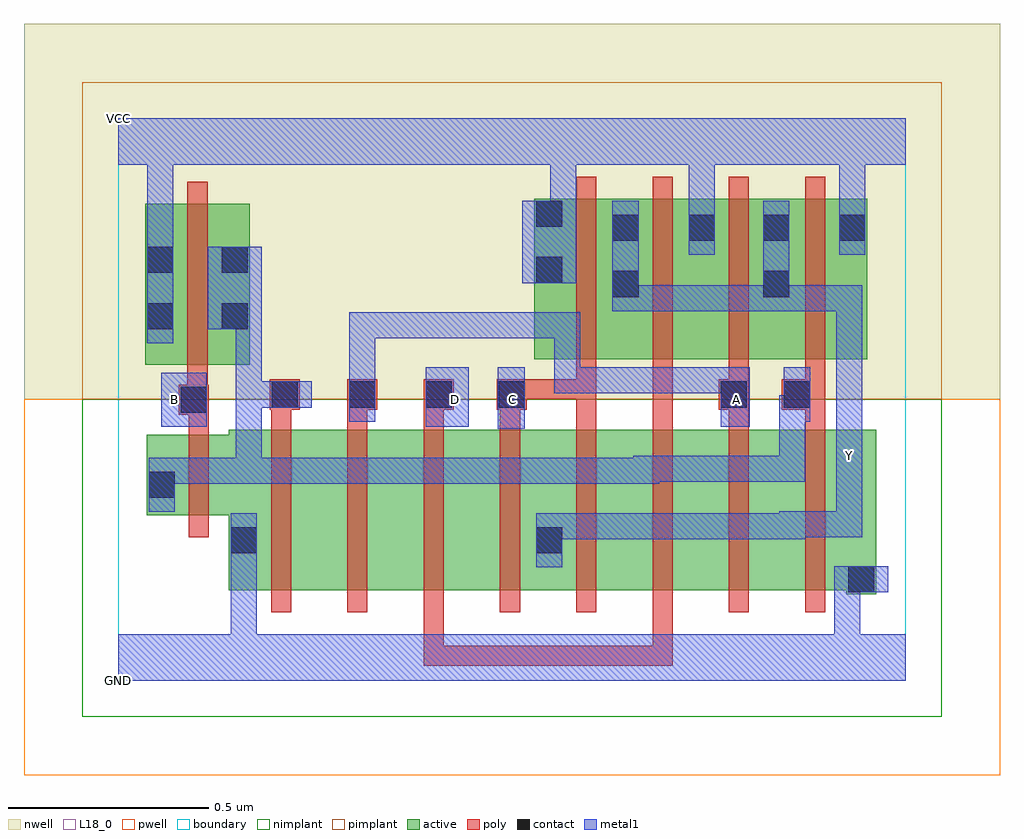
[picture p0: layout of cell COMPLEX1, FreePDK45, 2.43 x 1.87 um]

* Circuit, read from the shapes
.subckt COMPLEX1 A B C D GND VCC Y
M1 GND B n1 VSUBS nfet w=0.2u l=0.05u
M2 n2 n1 GND VSUBS nfet w=0.4u l=0.05u
M3 n3 A n2 VSUBS nfet w=0.4u l=0.05u
M4 n4 D n3 VSUBS nfet w=0.4u l=0.05u
M5 Y C n4 VSUBS nfet w=0.4u l=0.05u
M6 n5 C Y VSUBS nfet w=0.4u l=0.05u
M7 n6 D n5 VSUBS nfet w=0.4u l=0.05u
M8 n7 A n6 VSUBS nfet w=0.4u l=0.05u
M9 GND n1 n7 VSUBS nfet w=0.4u l=0.05u
M10 n1 B VCC n8 pfet w=0.4u l=0.05u
M11 Y C VCC n8 pfet w=0.4u l=0.05u
M12 VCC D Y n8 pfet w=0.4u l=0.05u
M13 Y A VCC n8 pfet w=0.4u l=0.05u
M14 VCC n1 Y n8 pfet w=0.4u l=0.05u
.ends

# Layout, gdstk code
import gdstk
lib = gdstk.Library(unit=1e-6, precision=1e-09)
def R(c, l, rs):  # rectangles x0, y0, x1, y1
    for r in rs: c.add(gdstk.rectangle(r[:2], r[2:], *l))
def A(c, l, x, y, w, h, nx, ny, dx, dy):  # array of equal rectangles
    R(c, l, [(x+i*dx, y+j*dy, x+i*dx+w, y+j*dy+h) for i in range(nx) for j in range(ny)])
active = (1, 0)
pwell = (2, 0)
nwell = (3, 0)
nimplant = (4, 0)
pimplant = (5, 0)
poly = (9, 0)
contact = (10, 0)
metal1 = (11, 0)
L18_0 = (18, 0)
boundary = (235, 0)

complex1 = lib.new_cell('COMPLEX1')
R(complex1, active, [(1.812,0.215,1.887,0.625), (0.275,0.225,0.5,0.625), (0.5,0.225,0.69,0.625), (0.69,0.225,0.88,0.625), (0.88,0.225,1.11,0.625), (1.035,0.225,1.26,0.625), (1.035,0.225,1.11,0.617), (1.26,0.225,1.45,0.625), (1.45,0.225,1.64,0.625), (1.64,0.225,1.887,0.625), (0.275,0.312,0.35,0.597), (0.07,0.412,0.35,0.612), (0.07,0.445,0.145,0.612), (0.067,0.787,0.142,1.187), (0.067,0.787,0.327,1.187), (0.252,0.787,0.327,1.187), (1.035,0.8,1.3,1.2), (1.225,0.8,1.49,1.2), (1.225,0.8,1.3,1.165), (1.415,0.8,1.675,1.2), (1.6,0.8,1.675,1.2), (1.6,0.8,1.865,1.2), (1.79,0.8,1.865,1.2), (1.415,0.802,1.49,1.165), (1.035,0.907,1.11,1.2)])
R(complex1, pwell, [(-0.235,-0.235,2.195,0.7)])
R(complex1, nwell, [(-0.235,0.7,2.195,1.635)])
R(complex1, nimplant, [(-0.09,-0.09,2.05,0.7)])
R(complex1, pimplant, [(-0.09,0.7,2.05,1.49)])
A(complex1, poly, 0.38, 0.17, 0.05, 0.51, 8, 1, 0.19, 0)
A(complex1, poly, 0.38, 0.63, 0.05, 0.095, 4, 1, 0.19, 0)
A(complex1, poly, 1.14, 0.7, 0.05, 0.095, 4, 1, 0.19, 0)
A(complex1, poly, 1.14, 0.745, 0.05, 0.51, 4, 1, 0.19, 0)
R(complex1, poly, [(0.76,0.037,0.81,0.087), (0.76,0.037,0.81,0.087), (0.76,0.037,0.81,0.087), (0.76,0.037,0.81,0.22), (0.76,0.037,1.017,0.087), (0.967,0.037,1.017,0.087), (0.967,0.037,1.15,0.087), (1.1,0.037,1.15,0.087), (1.1,0.037,1.15,0.087), (1.1,0.037,1.15,0.087), (1.1,0.037,1.38,0.087), (1.33,0.037,1.38,0.087), (1.33,0.037,1.38,0.087), (1.33,0.037,1.38,0.087), (1.33,0.037,1.38,0.22), (0.175,0.357,0.225,0.667), (0.175,0.617,0.225,0.712), (1.14,0.63,1.19,0.75), (1.33,0.63,1.38,0.75), (1.52,0.63,1.57,0.725), (1.71,0.63,1.76,0.725), (0.15,0.662,0.225,0.737), (0.377,0.675,0.452,0.75), (0.57,0.675,0.645,0.75), (0.76,0.675,0.835,0.75), (0.942,0.675,1.017,0.75), (1.495,0.675,1.57,0.75), (1.652,0.675,1.76,0.75), (0.172,0.687,0.222,0.782), (0.967,0.7,1.19,0.75), (1.14,0.7,1.19,0.75), (1.14,0.7,1.19,0.75), (1.14,0.7,1.19,0.75), (1.33,0.7,1.38,0.75), (0.172,0.732,0.222,1.242)])
R(complex1, contact, [(1.817,0.22,1.882,0.285), (0.28,0.317,0.345,0.382), (1.04,0.317,1.105,0.382), (0.075,0.455,0.14,0.52), (0.155,0.667,0.22,0.732), (0.382,0.68,0.447,0.745), (0.575,0.68,0.64,0.745), (0.765,0.68,0.83,0.745), (0.947,0.68,1.012,0.745), (1.5,0.68,1.565,0.745), (1.657,0.68,1.722,0.745), (0.072,0.875,0.137,0.94), (0.257,0.875,0.322,0.94), (1.23,0.955,1.295,1.02), (1.605,0.955,1.67,1.02), (1.04,0.99,1.105,1.055), (0.072,1.015,0.137,1.08), (0.257,1.015,0.322,1.08), (1.23,1.095,1.295,1.16), (1.42,1.095,1.485,1.16), (1.605,1.095,1.67,1.16), (1.795,1.095,1.86,1.16), (1.04,1.13,1.105,1.195)])
R(complex1, metal1, [(0,0,1.96,0.115), (0.28,0.05,0.345,0.115), (0.28,0.05,0.345,0.115), (0.28,0.05,0.345,0.347), (1.782,0.05,1.847,0.285), (1.782,0.22,1.847,0.285), (1.782,0.22,1.847,0.285), (1.782,0.22,1.917,0.285), (0.28,0.282,0.345,0.417), (1.04,0.282,1.105,0.417), (1.04,0.352,1.157,0.417), (1.092,0.352,1.157,0.417), (1.092,0.352,1.347,0.417), (1.282,0.352,1.347,0.417), (1.282,0.352,1.347,0.417), (1.282,0.352,1.347,0.417), (1.282,0.352,1.532,0.417), (1.467,0.352,1.532,0.417), (1.467,0.352,1.532,0.417), (1.467,0.352,1.532,0.417), (1.467,0.352,1.71,0.417), (1.645,0.352,1.71,0.422), (1.645,0.357,1.71,0.422), (1.645,0.357,1.71,0.422), (1.645,0.357,1.852,0.422), (1.787,0.357,1.852,0.422), (1.787,0.357,1.852,0.422), (1.787,0.357,1.852,0.422), (1.787,0.357,1.852,0.557), (0.075,0.42,0.14,0.555), (0.075,0.49,0.14,0.555), (0.075,0.49,0.14,0.555), (0.075,0.49,0.357,0.555), (0.292,0.49,0.357,0.555), (0.292,0.49,0.357,0.555), (0.292,0.49,0.357,0.555), (0.292,0.49,0.495,0.555), (0.292,0.49,0.357,0.745), (0.43,0.49,0.495,0.555), (0.43,0.49,0.64,0.555), (0.575,0.49,0.64,0.555), (0.575,0.49,0.64,0.555), (0.575,0.49,0.64,0.555), (0.575,0.49,0.777,0.555), (0.712,0.49,0.777,0.555), (0.712,0.49,0.932,0.555), (0.867,0.49,0.932,0.555), (0.867,0.49,0.932,0.555), (0.867,0.49,0.932,0.555), (0.867,0.49,1.157,0.555), (1.092,0.49,1.157,0.555), (1.092,0.49,1.157,0.555), (1.092,0.49,1.157,0.555), (1.092,0.49,1.347,0.555), (1.282,0.49,1.347,0.56), (1.787,0.492,1.852,0.627), (1.282,0.495,1.347,0.56), (1.282,0.495,1.347,0.56), (1.282,0.495,1.485,0.56), (1.42,0.495,1.485,0.56), (1.42,0.495,1.485,0.56), (1.42,0.495,1.485,0.56), (1.42,0.495,1.71,0.56), (1.645,0.495,1.71,0.56), (1.645,0.495,1.71,0.71), (1.787,0.562,1.852,0.985), (0.945,0.627,1.012,0.78), (0.107,0.632,0.22,0.767), (0.765,0.632,0.872,0.78), (1.5,0.632,1.572,0.78), (0.575,0.645,0.64,0.78), (1.645,0.645,1.71,0.71), (1.645,0.645,1.722,0.71), (1.657,0.645,1.722,0.78), (0.292,0.68,0.357,0.745), (0.292,0.68,0.412,0.745), (0.292,0.68,0.357,0.94), (0.347,0.68,0.482,0.745), (0.575,0.715,0.64,0.78), (0.575,0.715,0.64,0.78), (0.575,0.715,0.64,0.917), (1.085,0.715,1.15,0.78), (1.085,0.715,1.15,0.78), (1.085,0.715,1.15,0.78), (1.085,0.715,1.347,0.78), (1.085,0.715,1.15,0.917), (1.282,0.715,1.347,0.78), (1.282,0.715,1.347,0.78), (1.282,0.715,1.347,0.78), (1.282,0.715,1.532,0.78), (1.467,0.715,1.532,0.78), (1.467,0.715,1.565,0.78), (0.072,0.84,0.137,1.115), (0.575,0.852,0.64,0.917), (0.575,0.852,0.795,0.917), (0.73,0.852,0.795,0.917), (0.73,0.852,0.795,0.917), (0.73,0.852,0.795,0.917), (0.73,0.852,0.932,0.917), (0.867,0.852,0.932,0.917), (0.867,0.852,1.15,0.917), (1.085,0.852,1.15,0.917), (0.222,0.875,0.357,1.08), (1.23,0.92,1.295,0.985), (1.23,0.92,1.295,0.985), (1.23,0.92,1.295,1.195), (1.23,0.92,1.485,0.985), (1.42,0.92,1.485,0.985), (1.42,0.92,1.485,0.985), (1.42,0.92,1.485,0.985), (1.42,0.92,1.67,0.985), (1.605,0.92,1.852,0.985), (1.605,0.92,1.67,1.195), (1.787,0.92,1.852,0.985), (1.787,0.92,1.852,0.985), (1.787,0.92,1.852,0.985), (1.005,0.99,1.14,1.195), (0.072,1.05,0.137,1.35), (1.42,1.06,1.485,1.195), (1.795,1.06,1.86,1.195), (1.075,1.13,1.14,1.35), (1.42,1.13,1.485,1.35), (1.795,1.13,1.86,1.35), (0,1.285,1.96,1.4)])
R(complex1, L18_0, [(0,0,1.96,0.115), (0.28,0.05,0.345,0.115), (0.28,0.05,0.345,0.115), (0.28,0.05,0.345,0.347), (1.782,0.05,1.847,0.285), (1.782,0.22,1.847,0.285), (1.782,0.22,1.847,0.285), (1.782,0.22,1.917,0.285), (0.28,0.282,0.345,0.417), (1.04,0.282,1.105,0.417), (1.04,0.352,1.157,0.417), (1.092,0.352,1.157,0.417), (1.092,0.352,1.347,0.417), (1.282,0.352,1.347,0.417), (1.282,0.352,1.347,0.417), (1.282,0.352,1.347,0.417), (1.282,0.352,1.532,0.417), (1.467,0.352,1.532,0.417), (1.467,0.352,1.532,0.417), (1.467,0.352,1.532,0.417), (1.467,0.352,1.71,0.417), (1.645,0.352,1.71,0.422), (1.645,0.357,1.71,0.422), (1.645,0.357,1.71,0.422), (1.645,0.357,1.852,0.422), (1.787,0.357,1.852,0.422), (1.787,0.357,1.852,0.422), (1.787,0.357,1.852,0.422), (1.787,0.357,1.852,0.557), (1.787,0.492,1.852,0.627), (1.787,0.527,1.852,0.592), (1.787,0.562,1.852,0.985), (0.945,0.627,1.012,0.78), (0.107,0.632,0.22,0.767), (0.765,0.632,0.872,0.78), (1.5,0.632,1.572,0.78), (0.575,0.645,0.64,0.78), (0.107,0.667,0.172,0.732), (0.807,0.667,0.872,0.732), (0.947,0.667,1.012,0.732), (1.507,0.667,1.572,0.732), (0.575,0.715,0.64,0.78), (0.575,0.715,0.64,0.78), (0.575,0.715,0.64,0.917), (1.085,0.715,1.15,0.78), (1.085,0.715,1.15,0.78), (1.085,0.715,1.15,0.78), (1.085,0.715,1.15,0.917), (1.085,0.715,1.347,0.78), (1.282,0.715,1.347,0.78), (1.282,0.715,1.347,0.78), (1.282,0.715,1.347,0.78), (1.282,0.715,1.532,0.78), (1.467,0.715,1.532,0.78), (1.467,0.715,1.565,0.78), (0.072,0.84,0.137,1.115), (0.575,0.852,0.64,0.917), (0.575,0.852,0.795,0.917), (0.73,0.852,0.795,0.917), (0.73,0.852,0.795,0.917), (0.73,0.852,0.795,0.917), (0.73,0.852,0.932,0.917), (0.867,0.852,0.932,0.917), (0.867,0.852,1.15,0.917), (1.085,0.852,1.15,0.917), (1.23,0.92,1.295,1.195), (1.23,0.92,1.295,0.985), (1.23,0.92,1.295,0.985), (1.23,0.92,1.485,0.985), (1.42,0.92,1.485,0.985), (1.42,0.92,1.485,0.985), (1.42,0.92,1.485,0.985), (1.42,0.92,1.67,0.985), (1.605,0.92,1.67,1.195), (1.605,0.92,1.852,0.985), (1.787,0.92,1.852,0.985), (1.787,0.92,1.852,0.985), (1.787,0.92,1.852,0.985), (1.005,0.99,1.14,1.195), (0.072,1.05,0.137,1.35), (1.42,1.06,1.485,1.195), (1.795,1.06,1.86,1.195), (1.075,1.13,1.14,1.35), (1.42,1.13,1.485,1.35), (1.795,1.13,1.86,1.35), (0,1.285,1.96,1.4)])
R(complex1, boundary, [(0,0,1.96,1.4)])
complex1.add(gdstk.Label('A', (1.54,0.7), layer=11, texttype=0))
complex1.add(gdstk.Label('B', (0.14,0.7), layer=11, texttype=0))
complex1.add(gdstk.Label('C', (0.98,0.7), layer=11, texttype=0))
complex1.add(gdstk.Label('D', (0.84,0.7), layer=11, texttype=0))
complex1.add(gdstk.Label('Y', (1.82,0.56), layer=11, texttype=0))
complex1.add(gdstk.Label('VCC', (0,1.4), layer=11, texttype=0))
complex1.add(gdstk.Label('GND', (0,0), layer=11, texttype=0))

lib.write_gds('COMPLEX1.gds')
